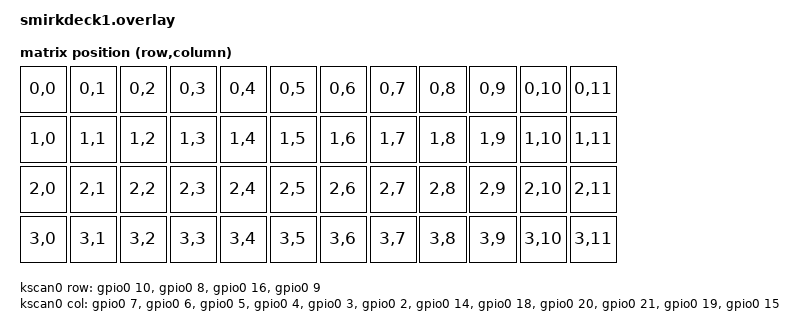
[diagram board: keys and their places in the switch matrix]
#include <dt-bindings/zmk/matrix_transform.h>

/ {
    chosen {
      //  zmk,kscan = &kscan0;
        zmk,physical-layout = &physical_layout0;
    };

    default_transform: keymap_transform0 {
        compatible = "zmk,matrix-transform";
        rows = <4>;
        columns = <12>;
        map = <
            RC(0,0)  RC(0,1)  RC(0,2)  RC(0,3)  RC(0,4)  RC(0,5)  RC(0,6)  RC(0,7)  RC(0,8)  RC(0,9)  RC(0,10) RC(0,11)
            RC(1,0)  RC(1,1)  RC(1,2)  RC(1,3)  RC(1,4)  RC(1,5)  RC(1,6)  RC(1,7)  RC(1,8)  RC(1,9)  RC(1,10) RC(1,11)
            RC(2,0)  RC(2,1)  RC(2,2)  RC(2,3)  RC(2,4)  RC(2,5)  RC(2,6)  RC(2,7)  RC(2,8)  RC(2,9)  RC(2,10) RC(2,11)
            RC(3,0)  RC(3,1)  RC(3,2)  RC(3,3)  RC(3,4)  RC(3,5)  RC(3,6)  RC(3,7)  RC(3,8)  RC(3,9)  RC(3,10) RC(3,11)
        >;
    };

    kscan0: kscan {
        compatible = "zmk,kscan-gpio-matrix";
        diode-direction = "col2row";
        wakeup-source;

 
        row-gpios
            = <&gpio0 10 (GPIO_ACTIVE_HIGH | GPIO_PULL_DOWN)>  // D10
            , <&gpio0 8  (GPIO_ACTIVE_HIGH | GPIO_PULL_DOWN)>  // D8
            , <&gpio0 16 (GPIO_ACTIVE_HIGH | GPIO_PULL_DOWN)>  // D16
            , <&gpio0 9  (GPIO_ACTIVE_HIGH | GPIO_PULL_DOWN)>  // D9
            ;


        col-gpios
            = <&gpio0 7  (GPIO_ACTIVE_HIGH | GPIO_PULL_DOWN)>  // D7
            , <&gpio0 6  (GPIO_ACTIVE_HIGH | GPIO_PULL_DOWN)>  // D6
            , <&gpio0 5  (GPIO_ACTIVE_HIGH | GPIO_PULL_DOWN)>  // D5
            , <&gpio0 4  (GPIO_ACTIVE_HIGH | GPIO_PULL_DOWN)>  // D4
            , <&gpio0 3  (GPIO_ACTIVE_HIGH | GPIO_PULL_DOWN)>  // D3
            , <&gpio0 2  (GPIO_ACTIVE_HIGH | GPIO_PULL_DOWN)>  // D2
            , <&gpio0 14 (GPIO_ACTIVE_HIGH | GPIO_PULL_DOWN)>  // D14
            , <&gpio0 18 (GPIO_ACTIVE_HIGH | GPIO_PULL_DOWN)>  // D18
            , <&gpio0 20 (GPIO_ACTIVE_HIGH | GPIO_PULL_DOWN)>  // D20
            , <&gpio0 21 (GPIO_ACTIVE_HIGH | GPIO_PULL_DOWN)>  // D21
            , <&gpio0 19 (GPIO_ACTIVE_HIGH | GPIO_PULL_DOWN)>  // D19
            , <&gpio0 15 (GPIO_ACTIVE_HIGH | GPIO_PULL_DOWN)>  // D15
            ;
    };
};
